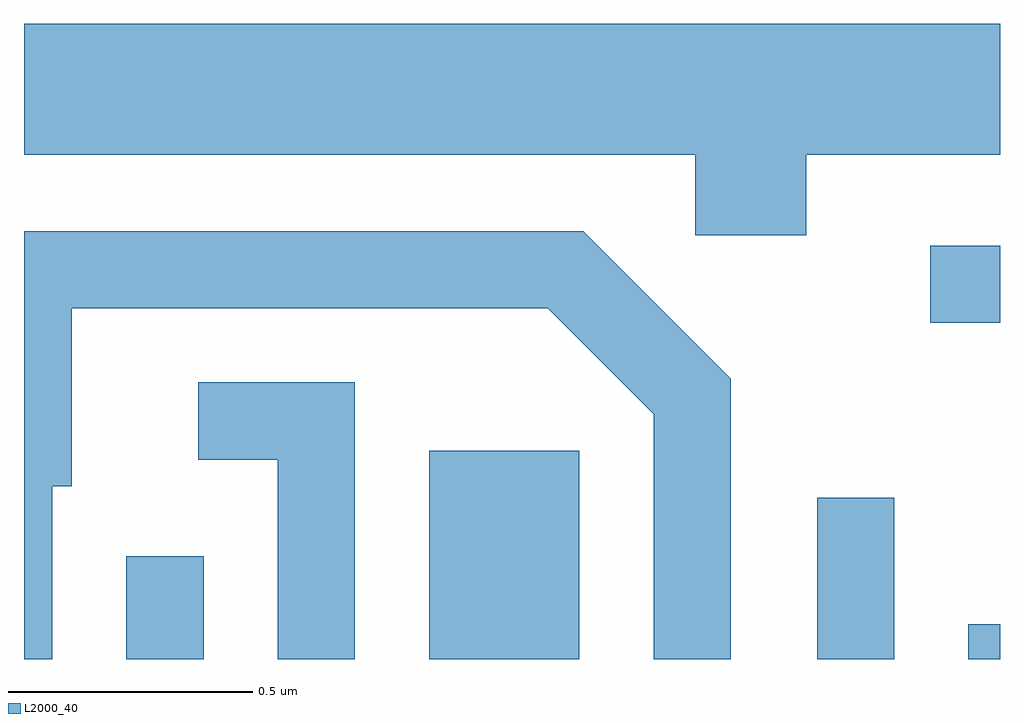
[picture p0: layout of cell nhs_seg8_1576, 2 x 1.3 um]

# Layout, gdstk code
import gdstk
lib = gdstk.Library(unit=1e-6, precision=1e-09)
def R(c, l, rs):  # rectangles x0, y0, x1, y1
    for r in rs: c.add(gdstk.rectangle(r[:2], r[2:], *l))
def P(c, l, *ps):  # polygons
    for p in ps: c.add(gdstk.Polygon(p, *l))
L2000_40 = (2000, 40)

nhs_seg8_1576 = lib.new_cell('nhs_seg8_1576')
R(nhs_seg8_1576, L2000_40, [(196.821,1875.342,196.979,1875.553), (197.441,1875.342,197.749,1875.769), (198.236,1875.342,198.394,1875.673), (198.546,1875.342,198.611,1875.414), (198.468,1876.031,198.611,1876.189)])
P(nhs_seg8_1576, L2000_40, [(198.214,1876.376),(198.611,1876.376),(198.611,1876.644),(196.611,1876.644),(196.611,1876.376),(197.986,1876.376),(197.986,1876.211),(198.214,1876.211)],
  [(196.669,1875.696),(196.709,1875.696),(196.709,1876.061),(197.684,1876.061),(197.901,1875.844),(197.901,1875.342),(198.059,1875.342),(198.059,1875.917),(197.757,1876.219),(196.611,1876.219),(196.611,1875.342),(196.669,1875.342)],
  [(197.289,1875.909),(196.968,1875.909),(196.968,1875.751),(197.131,1875.751),(197.131,1875.342),(197.289,1875.342)])

lib.write_gds('nhs_seg8_1576.gds')
